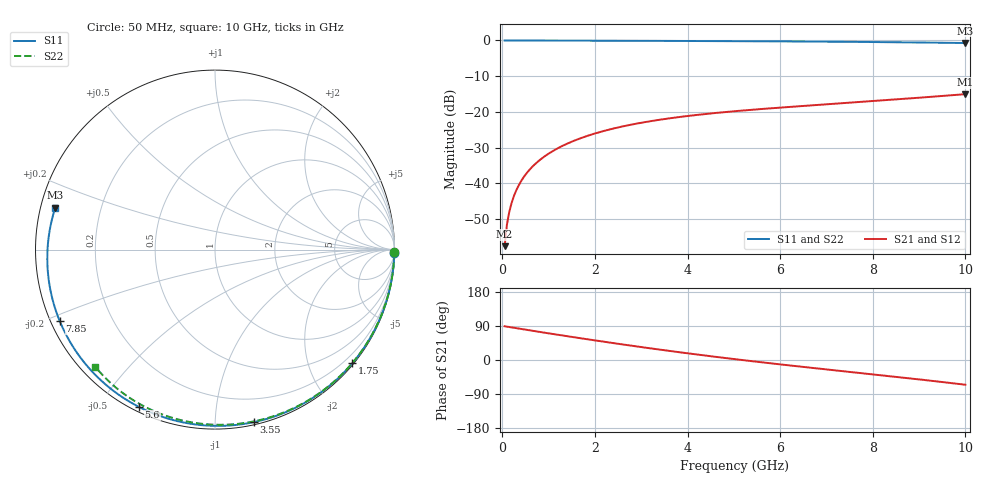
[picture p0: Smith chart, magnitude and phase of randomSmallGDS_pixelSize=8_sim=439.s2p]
! freq	dB(S11)	phase(S11)	dB(S12)	phase(S12)
!  dB(S21)	phase(S21)	dB(S22)	phase(S22)
!S-par simulation data
#  GHz  S  DB  R 50
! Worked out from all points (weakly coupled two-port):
!   200 points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, 50 MHz to 10 GHz, reference 50 ohm
!   highest |S21| = -15.03 dB at 10 GHz (marker M1); lowest = -57.6 dB at 50 MHz (marker M2)
!   lowest |S11| = -0.7 dB at 10 GHz (marker M3), VSWR 24.00, Z = 2.12 + j6.44 ohm
!   |S11| at or under -10 dB: nowhere
!   |S22| runs from -0.6 to 0.0 dB; largest |S21 - S12| = 0
!   S11 on the Smith chart (normalised r, x): 50 MHz: open; 1.75 GHz: 0.03, -2.78; 3.55 GHz: 0.02, -1.25; 5.6 GHz: 0.02, -0.63; 7.85 GHz: 0.03, -0.22; 10 GHz: 0.04, +0.13
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0.05  -0.00 -1.1  -57.55 89.1  -57.55 89.1  -0.01 -0.8
0.1  -0.01 -2.3  -51.53 88.1  -51.53 88.1  -0.01 -1.6
0.15  -0.01 -3.4  -48.00 87.1  -48.00 87.1  -0.01 -2.4
0.2  -0.01 -4.6  -45.50 86.1  -45.50 86.1  -0.01 -3.2
0.25  -0.01 -5.7  -43.56 85.1  -43.56 85.1  -0.01 -4.0
0.35  -0.01 -8.0  -40.64 83.1  -40.64 83.1  -0.01 -5.6
0.5  -0.02 -11.5  -37.56 80.1  -37.56 80.1  -0.01 -7.9
0.7  -0.02 -16.1  -34.68 76.2  -34.68 76.2  -0.02 -11.1
1  -0.03 -22.9  -31.67 70.4  -31.67 70.4  -0.02 -15.8
1.35  -0.04 -30.8  -29.18 63.7  -29.18 63.7  -0.03 -21.3
1.75  -0.06 -39.6  -27.08 56.3  -27.08 56.3  -0.04 -27.5
2.6  -0.09 -57.9  -24.05 41.0  -24.05 41.0  -0.07 -40.4
3.4  -0.12 -74.3  -22.18 27.4  -22.18 27.4  -0.09 -52.2
3.55  -0.13 -77.3  -21.89 24.9  -21.89 24.9  -0.10 -54.3
4.3  -0.16 -91.9  -20.70 13.0  -20.70 13.0  -0.13 -64.9
5.05  -0.20 -105.8  -19.76 1.8  -19.76 1.8  -0.16 -75.2
5.6  -0.23 -115.8  -19.18 -6.0  -19.18 -6.0  -0.18 -82.5
6.7  -0.31 -135.2  -18.15 -20.9  -18.15 -20.9  -0.25 -96.5
7.85  -0.42 -155.2  -17.12 -35.9  -17.12 -35.9  -0.34 -110.5
8.35  -0.48 -164.0  -16.65 -42.5  -16.65 -42.5  -0.39 -116.5
9.2  -0.60 -179.4  -15.83 -53.9  -15.83 -53.9  -0.49 -126.4
10  -0.72 165.3  -15.03 -65.3  -15.03 -65.3  -0.60 -135.6
